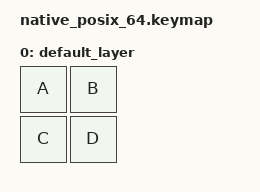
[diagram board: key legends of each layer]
/*
 * Test: rolling-disjoint
 *
 * Two combos with disjoint key positions:
 *   combo_x: positions <0 1> → X
 *   combo_y: positions <2 3> → Y
 *
 * Press combo_x keys, then press combo_y keys before releasing combo_x.
 * Both combos should fire independently.
 *
 * Sequence:
 *   press(0, 0ms), press(1, 10ms),       -- combo_x activates
 *   press(2, 10ms), press(3, 10ms),       -- combo_y activates (rolling)
 *   release(0, 200ms), release(1, 10ms),  -- combo_x releases
 *   release(2, 10ms), release(3, 10ms)    -- combo_y releases
 *
 * Expected: press X, press Y, release X, release Y
 */

#include <dt-bindings/zmk/keys.h>
#include <behaviors.dtsi>
#include <dt-bindings/zmk/kscan_mock.h>

/ {
    rolling_combos {
        compatible = "zmk,rolling-combos";
        combo_x {
            timeout-ms = <50>;
            key-positions = <0 1>;
            bindings = <&kp X>;
        };
        combo_y {
            timeout-ms = <50>;
            key-positions = <2 3>;
            bindings = <&kp Y>;
        };
    };

    keymap {
        compatible = "zmk,keymap";
        default_layer {
            bindings = <
                &kp A &kp B
                &kp C &kp D
            >;
        };
    };
};

&kscan {
    events = <
        ZMK_MOCK_PRESS(0, 0, 0)
        ZMK_MOCK_PRESS(0, 1, 10)
        ZMK_MOCK_PRESS(1, 0, 10)
        ZMK_MOCK_PRESS(1, 1, 10)
        ZMK_MOCK_RELEASE(0, 0, 200)
        ZMK_MOCK_RELEASE(0, 1, 10)
        ZMK_MOCK_RELEASE(1, 0, 10)
        ZMK_MOCK_RELEASE(1, 1, 10)
    >;
};
